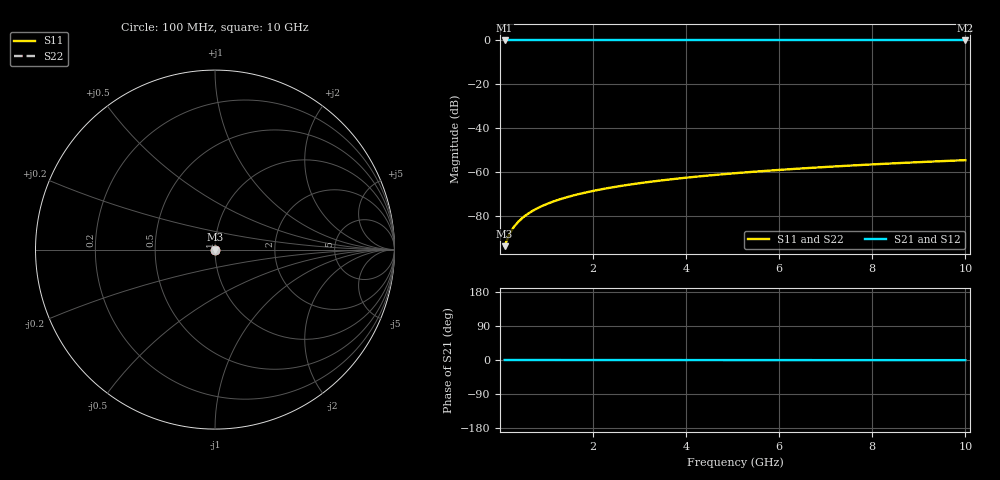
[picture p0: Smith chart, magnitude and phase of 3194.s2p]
# Hz S RI R 50.00
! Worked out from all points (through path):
!   100 points, 100 MHz to 10 GHz, reference 50 ohm
!   highest |S21| = 0.00 dB at 100 MHz (marker M1); lowest = 0.0 dB at 10 GHz (marker M2)
!   lowest |S11| = -94.0 dB at 100 MHz (marker M3), VSWR 1.00, Z = 50 - j0.00182 ohm
!   |S11| at or under -10 dB: start of sweep to end of sweep
!   |S22| runs from -94.0 to -54.7 dB; largest |S21 - S12| = 0
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1e8  8.2e-06 -1.82e-05  1 -6.89e-05  1 -6.89e-05  8.2e-06 -1.82e-05
5e8  8.17e-06 -9.09e-05  1 -0.000345  1 -0.000345  8.17e-06 -9.09e-05
6e8  8.14e-06 -0.000109  1 -0.000414  1 -0.000414  8.14e-06 -0.000109
7e8  8.11e-06 -0.000127  1 -0.000483  1 -0.000483  8.11e-06 -0.000127
8e8  8.07e-06 -0.000146  1 -0.000552  1 -0.000552  8.07e-06 -0.000146
9e8  8.03e-06 -0.000164  1 -0.000621  1 -0.000621  8.03e-06 -0.000164
1.1e9  7.94e-06 -0.0002  1 -0.000759  1 -0.000759  7.94e-06 -0.0002
1.2e9  7.89e-06 -0.000218  1 -0.000828  1 -0.000828  7.89e-06 -0.000218
1.4e9  7.77e-06 -0.000255  1 -0.000966  1 -0.000966  7.77e-06 -0.000255
1.6e9  7.65e-06 -0.000291  1 -0.0011  1 -0.0011  7.65e-06 -0.000291
1.8e9  7.51e-06 -0.000328  1 -0.00124  1 -0.00124  7.51e-06 -0.000328
2.1e9  7.28e-06 -0.000383  1 -0.00145  1 -0.00145  7.28e-06 -0.000383
2.5e9  6.94e-06 -0.000456  1 -0.00173  1 -0.00173  6.94e-06 -0.000456
2.9e9  6.55e-06 -0.000529  1 -0.002  1 -0.002  6.55e-06 -0.000529
3.4e9  6.01e-06 -0.000621  1 -0.00235  1 -0.00235  6.01e-06 -0.000621
4.2e9  5e-06 -0.000768  1 -0.00291  1 -0.00291  5e-06 -0.000768
5.1e9  3.67e-06 -0.000935  1 -0.00353  1 -0.00353  3.67e-06 -0.000935
5.9e9  2.3e-06 -0.00108  1 -0.00409  1 -0.00409  2.3e-06 -0.00108
6.7e9  7.63e-07 -0.00123  1 -0.00465  1 -0.00465  7.63e-07 -0.00123
7.5e9  -9.41e-07 -0.00138  1 -0.00521  1 -0.00521  -9.41e-07 -0.00138
8.4e9  -3.06e-06 -0.00155  1 -0.00585  1 -0.00585  -3.06e-06 -0.00155
1e10  -7.35e-06 -0.00184  1 -0.00698  1 -0.00698  -7.35e-06 -0.00184
